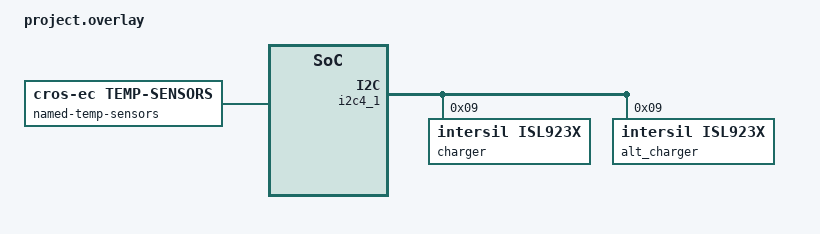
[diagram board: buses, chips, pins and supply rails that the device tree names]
/* Copyright 2022 The ChromiumOS Authors
 * Use of this source code is governed by a BSD-style license that can be
 * found in the LICENSE file.
 */

/* Skyrim program common DTS includes */
#include "../adc.dtsi"
#include "../fan.dtsi"
#include "../gpio.dtsi"
#include "../i2c.dtsi"
#include "../interrupts.dtsi"
#include "../keyboard.dtsi"
#include "../usbc.dtsi"

/* winterhold project DTS includes*/
#include "led_pins.dtsi"
#include "led_policy.dtsi"
#include "motionsense.dtsi"

/* Winterhold overrides follow... */
/ {
	/* battery overrides */
	batteries {
		default_battery: lgc_xphx8 {
			compatible = "lgc,xphx8", "battery-smart";
		};
		smp_atlxdy9k {
			compatible = "smp,atlxdy9k", "battery-smart";
		};
		smp_cosxdy9k {
			compatible = "smp,cosxdy9k", "battery-smart";
		};
		byd_wv3k8 {
			compatible = "byd,wv3k8", "battery-smart";
		};
		cosmx_mvk11 {
			compatible = "cosmx,mvk11", "battery-smart";
		};
		sunwoda_atlvkyjx {
			compatible = "sunwoda,atlvkyjx", "battery-smart";
		};
		sunwoda_cosvkyjx {
			compatible = "sunwoda,cosvkyjx", "battery-smart";
		};
		atl_cfd72 {
			compatible = "atl,cfd72", "battery-smart";
		};
	};

	named-gpios {
		/* Winterhold-specific GPIO customizations */
	};

	named-temp-sensors {
		compatible = "cros-ec,temp-sensors";
		temp_sensor_soc: soc-pct2075 {
			temp-host-high = <97>;
			temp-host-halt = <98>;
			temp-host-release-high = <87>;
			temp-host-release-halt = <88>;
			temp-fan-off = <55>;
			temp-fan-max = <72>;
			power-good-pin = <&gpio_pg_pwr_s5>;
			sensor = <&soc_pct2075>;
		};
		temp_sensor_amb: amb-pct2075 {
			temp-host-warn = <43>;
			temp-host-high = <97>;
			temp-host-halt = <98>;
			temp-host-release-warn = <39>;
			temp-host-release-high = <87>;
			temp-host-release-halt = <88>;
			power-good-pin = <&gpio_pg_pwr_s5>;
			sensor = <&amb_pct2075>;
		};
	};

	/*
	 * Note this is expected to vary per-board, so we keep it in the overlay
	 * files.
	 */
	Winterhold-fw-config {
		compatible = "cros-ec,cbi-fw-config";

		/*
		 * FW_CONFIG field to enable KB back light or not.
		 */
		kb-bl {
			enum-name = "FW_KB_BL";
			start = <1>;
			size = <1>;

			no-kb-bl {
				compatible = "cros-ec,cbi-fw-config-value";
				enum-name = "FW_KB_BL_NOT_PRESENT";
				value = <0>;
			};
			kb-bl-present {
				compatible = "cros-ec,cbi-fw-config-value";
				enum-name = "FW_KB_BL_PRESENT";
				value = <1>;
			};
		};

		charger-option {
			enum-name = "FW_CHARGER";
			start = <2>;
			size = <1>;

			charger-option-isl9238 {
				compatible = "cros-ec,cbi-fw-config-value";
				enum-name = "FW_CHARGER_ISL9238";
				value = <0>;
				default;
			};
			charger-option-isl9538 {
				compatible = "cros-ec,cbi-fw-config-value";
				enum-name = "FW_CHARGER_ISL9538";
				value = <1>;
			};
		};

		base-sensor {
			enum-name = "FW_BASE_SENSOR";
			start = <3>;
			size = <1>;

			bmi323 {
				compatible = "cros-ec,cbi-fw-config-value";
				enum-name = "FW_BASE_BMI323";
				value = <0>;
				default;
			};
			lis2dw12 {
				compatible = "cros-ec,cbi-fw-config-value";
				enum-name = "FW_BASE_LIS2DW12";
				value = <1>;
			};
		};
	};

	/* Rotation matrices for motion sensors. */
	motionsense-rotation-ref {
		compatible = "cros-ec,motionsense-rotation-ref";
		lid_rot_ref: lid-rotation-ref {
			mat33 = <0 (-1) 0
				 1 0 0
				 0 0 1>;
		};

		base_rot_ref: base-rotation-ref {
			mat33 = <0 1 0
				 (-1) 0 0
				 0 0 1>;
		};
		base_rot_ref_bmi: base-rotation-ref-bmi {
			mat33 = <0 (-1) 0
				 1 0 0
				 0 0 1>;
		};
	};
};

/*i2c overrides */
&i2c1_0 {
	/delete-node/ ps8818@28;
};

&i2c4_1 {
	/delete-node/ isl9241@9;
	/delete-node/ isl9538@9;
	charger: isl9238@9 {
		compatible = "intersil,isl923x";
		status = "okay";
		reg = <0x9>;
	};
	alt_charger: isl9538@9 {
		compatible = "intersil,isl923x";
		status = "okay";
		reg = <0x9>;
	};
};

/* usbc overrides */
&usbc_port0 {
	/delete-property/ chg_alt;
	chg_alt = <&alt_charger>;
};

&usbc_port1 {
	/delete-node/ usb-mux-chain-1-ps;
};

/* fan overrides */
&fan0 {
	pwms = <&pwm0 0 PWM_KHZ(2) PWM_POLARITY_NORMAL>;
	rpm-min = <2100>;
	rpm-start = <2800>;
	rpm-max = <4800>;
	rpm-deviation = <3>;
};

/* temperature sensor overrides */
&temp_sensor_charger {
	temp-host-high = <97>;
	temp-host-halt = <98>;
	temp-host-release-high = <87>;
	temp-host-release-halt = <88>;
};

&temp_sensor_memory {
	temp-host-high = <91>;
	temp-host-halt = <96>;
	temp-host-release-high = <81>;
	temp-host-release-halt = <86>;
};

&temp_sensor_cpu {
	temp-host-high = <110>;
	temp-host-halt = <112>;
	temp-host-release-high = <96>;
	temp-host-release-halt = <96>;
	temp-fan-off = <76>;
	temp-fan-max = <82>;
};

/* handler overrides */
&int_accel_gyro {
	handler = "base_accel_interrupt";
};
